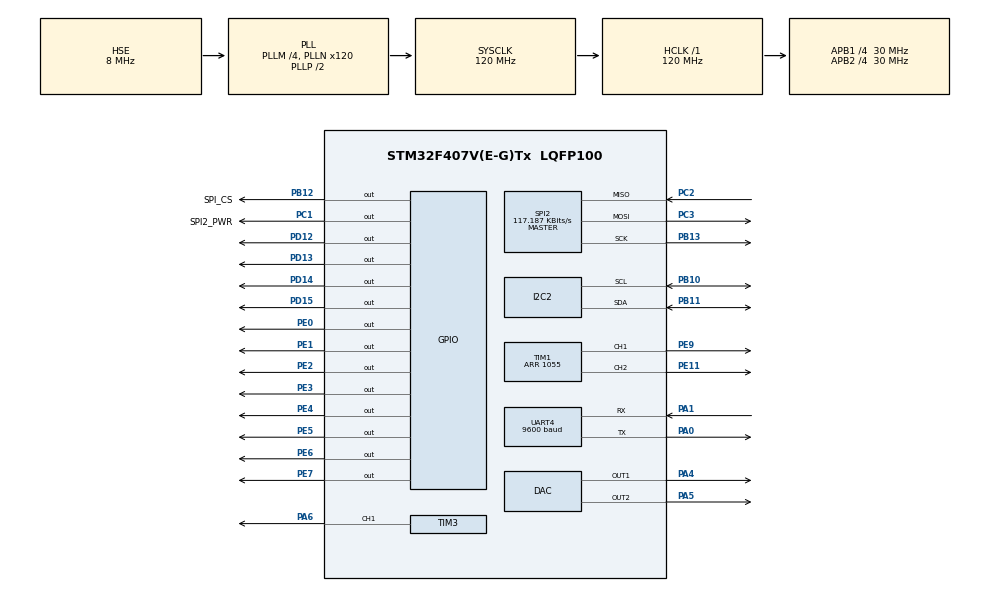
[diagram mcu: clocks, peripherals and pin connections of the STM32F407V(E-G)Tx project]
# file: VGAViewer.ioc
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Mcu.Family=STM32F4
PC3.Mode=Full_Duplex_Master
PH0-OSC_IN.Signal=RCC_OSC_IN
RCC.CortexFreq_Value=120000000
FATFS._USE_LFN=1
TIM1.OCIdleState_2=TIM_OCIDLESTATE_RESET
SPI2.VirtualType=VM_MASTER
PB10.Mode=I2C
NVIC.TIM6_DAC_IRQn=true\:5\:0\:false\:false\:true\:false\:true\:true
Dma.TIM1_TRIG.0.PeriphDataAlignment=DMA_PDATAALIGN_BYTE
FREERTOS.Events01=_vgaEDIDRcvEvnt,Dynamic,NULL
PE1.PinState=GPIO_PIN_RESET
PE2.GPIO_Speed=GPIO_SPEED_FREQ_VERY_HIGH
VP_TIM3_VS_no_output2.Mode=PWM Generation2 No Output
TIM1.Pulse-PWM\ Generation1\ CH1=928
PB11.Signal=I2C2_SDA
Dma.TIM1_TRIG.0.FIFOThreshold=DMA_FIFO_THRESHOLD_3QUARTERSFULL
PB13.Signal=SPI2_SCK
TIM4.TIM_MasterOutputTrigger=TIM_TRGO_UPDATE
RCC.SYSCLKSource=RCC_SYSCLKSOURCE_PLLCLK
ProjectManager.StackSize=0x400
SH.COMP_DAC2_group.0=DAC_OUT2,DAC_OUT2
VP_FREERTOS_VS_CMSIS_V2.Mode=CMSIS_V2
TIM3.OC3Preload_PWM=DISABLE
PD13.Signal=GPIO_Output
TIM1.OC1Preload_PWM=DISABLE
Dma.TIM1_TRIG.0.Mode=DMA_NORMAL
UART4.BaudRate=9600
RCC.HCLKFreq_Value=120000000
RCC.APB2TimFreq_Value=60000000
TIM3.Period=627
TIM3.OC1Preload_PWM=DISABLE
PC3.Signal=SPI2_MOSI
Dma.TIM1_TRIG.0.MemBurst=DMA_MBURST_SINGLE
NVIC.DMA2_Stream0_IRQn=true\:5\:0\:false\:false\:true\:false\:false\:true
PE5.Signal=GPIO_Output
VP_TIM3_VS_ControllerModeClock.Mode=Clock Mode
PE1.Signal=GPIO_Output
RCC.AHBFreq_Value=120000000
SPI2.BaudRatePrescaler=SPI_BAUDRATEPRESCALER_256
PH0-OSC_IN.Mode=HSE-External-Clock-Source
PE3.PinState=GPIO_PIN_RESET
TIM3.Channel-PWM\ Generation1\ CH1=TIM_CHANNEL_1
TIM3.OC2Preload_PWM=DISABLE
FREERTOS.configUSE_PREEMPTION=0
RCC.HSE_VALUE=8000000
PB3.Mode=Trace_Asynchronous_SW
Dma.TIM1_TRIG.0.MemDataAlignment=DMA_MDATAALIGN_WORD
PB12.GPIO_ModeDefaultOutputPP=GPIO_MODE_OUTPUT_OD
PB12.GPIO_Label=SPI_CS
DAC.DAC_Trigger2=DAC_TRIGGER_NONE
Dma.TIM1_TRIG.0.PeriphInc=DMA_PINC_DISABLE
TIM1.Channel-PWM\ Generation3\ No\ Output=TIM_CHANNEL_3
VP_TIM1_VS_ControllerModeClock.Mode=Clock Mode
DAC.DAC_Trigger=DAC_TRIGGER_NONE
TIM1.Channel-PWM\ Generation1\ CH1=TIM_CHANNEL_1
PE9.Signal=S_TIM1_CH1
PA14.Mode=Trace_Asynchronous_SW
PE4.GPIO_Speed=GPIO_SPEED_FREQ_VERY_HIGH
TIM1.OC2Preload_PWM=DISABLE
PE5.PinState=GPIO_PIN_RESET
SPI2.CalculateBaudRate=117.187 KBits/s
FATFS._USE_MKFS=0
PE2.Signal=GPIO_Output
SH.S_TIM3_CH1.0=TIM3_CH1,PWM Generation1 CH1
TIM4.Period=2
VP_TIM3_VS_ClockSourceITR.Mode=TriggerSource_ITR0
PE4.Signal=GPIO_Output
PE6.PinState=GPIO_PIN_RESET
PH1-OSC_OUT.Mode=HSE-External-Clock-Source
Dma.TIM1_TRIG.0.Priority=DMA_PRIORITY_VERY_HIGH
Mcu.Package=LQFP100
PA6.Signal=S_TIM3_CH1
NVIC.TimeBase=TIM7_IRQn
SPI2.Mode=SPI_MODE_MASTER
TIM1.Pulse-PWM\ Generation2\ CH2=88
PD12.Signal=GPIO_Output
NVIC.TimeBaseIP=TIM7
FATFS._FS_MINIMIZE=1
FATFS._FS_LOCK=0
RCC.APB2CLKDivider=RCC_HCLK_DIV4
RCC.APB1TimFreq_Value=60000000
SPI2.Direction=SPI_DIRECTION_2LINES
TIM1.Period=1055
PB13.Mode=Full_Duplex_Master
PE7.Signal=GPIO_Output
Dma.Request0=TIM1_TRIG
PE6.GPIO_Speed=GPIO_SPEED_FREQ_VERY_HIGH
PD15.Signal=GPIO_Output
NVIC.TIM7_IRQn=true\:0\:0\:false\:false\:false\:false\:false\:false
NVIC.UART4_IRQn=true\:14\:0\:true\:false\:true\:false\:true\:true
RCC.PLLSourceVirtual=RCC_PLLSOURCE_HSE
SH.COMP_DAC1_group.0=DAC_OUT1,DAC_OUT1
TIM1.OCPolarity_2=TIM_OCPOLARITY_HIGH
FREERTOS.Tasks01=vgaConnectionTa,24,208,ConnecToVGATask,Default,NULL,Dynamic,NULL,NULL;_mainTask,24,300,MainTask,Default,NULL,Dynamic,NULL,NULL
FATFS._FS_REENTRANT=0
VP_TIM3_VS_no_output3.Mode=PWM Generation3 No Output
PE2.PinState=GPIO_PIN_RESET
TIM3.Pulse-PWM\ Generation2\ No\ Output=23
VP_SYS_VS_tim7.Mode=TIM7
FREERTOS.configCHECK_FOR_STACK_OVERFLOW=2
TIM1.OC3Preload_PWM=DISABLE
PC2.Signal=SPI2_MISO
PE7.PinState=GPIO_PIN_RESET
PC2.Mode=Full_Duplex_Master
TIM1.OC4Preload_PWM=DISABLE
TIM3.Pulse-PWM\ Generation3\ No\ Output=623
RCC.APB1CLKDivider=RCC_HCLK_DIV4
UART4.VirtualMode=Asynchronous
Dma.TIM1_TRIG.0.PeriphBurst=DMA_PBURST_SINGLE
Dma.TIM1_TRIG.0.Instance=DMA2_Stream0
PA0-WKUP.Signal=UART4_TX
TIM1.ClockDivision=TIM_CLOCKDIVISION_DIV1
PE0.GPIO_Speed=GPIO_SPEED_FREQ_VERY_HIGH
PA0-WKUP.Mode=Asynchronous
PA13.Signal=SYS_JTMS-SWDIO
PE0.PinState=GPIO_PIN_RESET
TIM3.Pulse-PWM\ Generation1\ CH1=624
SH.S_TIM1_CH1.0=TIM1_CH1,PWM Generation1 CH1
PB11.Mode=I2C
ProjectManager.TargetToolchain=STM32CubeIDE
TIM1.OCMode_PWM-PWM\ Generation3\ No\ Output=TIM_OCMODE_PWM1
FATFS._CODE_PAGE=850
Dma.TIM1_TRIG.0.MemInc=DMA_MINC_ENABLE
TIM1.Channel-PWM\ Generation2\ CH2=TIM_CHANNEL_2
PB13.GPIO_Speed=GPIO_SPEED_FREQ_LOW
VP_TIM1_VS_ClockSourceITR.Mode=TriggerSource_ITR3
NVIC.I2C2_ER_IRQn=true\:14\:0\:true\:false\:true\:true\:true\:true
PE11.Signal=S_TIM1_CH2
RCC.LSE_VALUE=32768
PA1.Signal=UART4_RX
VP_FATFS_VS_Generic.Mode=User_defined
PB10.Signal=I2C2_SCL
PA5.Signal=COMP_DAC2_group
board=STM32F407G-DISC1
RCC.VCOOutputFreq_Value=240000000
NVIC.TIM3_IRQn=true\:0\:0\:true\:false\:false\:false\:true\:true
VP_TIM1_VS_no_output4.Mode=PWM Generation4 No Output
TIM1.Pulse-PWM\ Generation4\ No\ Output=888
TIM1.TIM_MasterOutputTrigger=TIM_TRGO_OC2REF
PE7.GPIO_Speed=GPIO_SPEED_FREQ_VERY_HIGH
Dma.TIM1_TRIG.0.FIFOMode=DMA_FIFOMODE_ENABLE
RCC.APB2Freq_Value=30000000
PA1.Mode=Asynchronous
SH.S_TIM1_CH2.0=TIM1_CH2,PWM Generation2 CH2
TIM3.Channel-PWM\ Generation2\ No\ Output=TIM_CHANNEL_2
VP_TIM1_VS_no_output3.Mode=PWM Generation3 No Output
PE1.GPIO_Speed=GPIO_SPEED_FREQ_VERY_HIGH
PC1.GPIO_Label=SPI2_PWR
PH1-OSC_OUT.Signal=RCC_OSC_OUT
PE6.Signal=GPIO_Output
PA13.Mode=Trace_Asynchronous_SW
TIM1.Channel-PWM\ Generation4\ No\ Output=TIM_CHANNEL_4
PE0.Signal=GPIO_Output
Mcu.Name=STM32F407V(E-G)Tx
NVIC.TIM1_CC_IRQn=true\:0\:0\:true\:false\:false\:false\:true\:true
PD14.Signal=GPIO_Output
RCC.48MHZClocksFreq_Value=34285714.28571428
TIM3.Channel-PWM\ Generation3\ No\ Output=TIM_CHANNEL_3
PB3.Signal=SYS_JTDO-SWO
PA4.Signal=COMP_DAC1_group
RCC.SYSCLKFreq_VALUE=120000000
PE3.GPIO_Speed=GPIO_SPEED_FREQ_VERY_HIGH
PA14.Signal=SYS_JTCK-SWCLK
ProjectManager.HeapSize=0x200
NVIC.I2C2_EV_IRQn=true\:14\:0\:true\:false\:true\:true\:true\:true
RCC.HSI_VALUE=16000000
Dma.TIM1_TRIG.0.Direction=DMA_MEMORY_TO_PERIPH
VP_TIM4_VS_ClockSourceINT.Mode=Internal
RCC.PLLQ=7
PC1.GPIO_ModeDefaultOutputPP=GPIO_MODE_OUTPUT_PP
NVIC.PriorityGroup=NVIC_PRIORITYGROUP_4
RCC.PLLM=4
RCC.PLLN=120
TIM1.OCMode_PWM-PWM\ Generation2\ CH2=TIM_OCMODE_PWM2
PE5.GPIO_Speed=GPIO_SPEED_FREQ_VERY_HIGH
PE3.Signal=GPIO_Output
TIM1.Pulse-PWM\ Generation3\ No\ Output=88
PE4.PinState=GPIO_PIN_RESET
FATFS._FS_READONLY=1
RCC.APB1Freq_Value=30000000
PC1.Signal=GPIO_Output
PB12.Signal=GPIO_Output

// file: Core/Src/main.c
/* USER CODE BEGIN Header */
/**
 ******************************************************************************
 * @file           : main.c
 * @brief          : Main program body
 ******************************************************************************
 * @attention
 *
 * <h2><center>&copy; Copyright (c) 2021 STMicroelectronics.
 * All rights reserved.</center></h2>
 *
 * This software component is licensed by ST under BSD 3-Clause license,
 * the "License"; You may not use this file except in compliance with the
 * License. You may obtain a copy of the License at:
 *                        opensource.org/licenses/BSD-3-Clause
 *
 ******************************************************************************
 */
 /* USER CODE END Header */
 /* Includes ------------------------------------------------------------------*/
#include "main.h"
#include "cmsis_os.h"
#include "fatfs.h"

/* USER CODE BEGIN Includes */
#include <stdio.h>
#include <stdlib.h>
#include <string.h>

#include <typedefs.h>
#include <assertion.h>

#include <cmsis_extensions.h>
#include <crc/crc7.h>
#include <crc/crc16.h>
#include <vga/edid.h>
#include <vga/vgascreenbuffer.h>
#include <screen/screen.h>
#include <sd/sd.h>
#include <ram.h>

#include <app/ascii_table.h>
#include <app/color_palette.h>
#include <app/explorer.h>

/* USER CODE END Includes */

/* USER CODE BEGIN PTD */

typedef enum _MainApplicationRunning {
    AppIdle, AppAsciiTable, AppPalette, AppExplorer
} MainApplicationRunning;
/* USER CODE END PTD */

/* USER CODE BEGIN PD */

/// Event flag for Edid success read from I2C channel
#define I2CVGA_EDID_RECEIVED 0x00000001
/// Event flag for Edid failure read from I2C channel
#define I2CVGA_EDID_ERROR 0x00000002

/// Interval that need to be elapsed between two EDID checks
#define I2CVGA_CHECK_INTERVAL_MS 7000
#define I2CVGA_CHECK_RETRIES 1
#define I2CVGA_CHECK_TIMEOUT 2000

/// Length of the command that need to be read via interrupt
#define UART_USERCOMMAND_LENGTH 1

/* USER CODE END PD */

DAC_HandleTypeDef hdac;

I2C_HandleTypeDef hi2c2;

SPI_HandleTypeDef hspi2;

TIM_HandleTypeDef htim1;
TIM_HandleTypeDef htim3;
TIM_HandleTypeDef htim4;
DMA_HandleTypeDef hdma_tim1_trig;

UART_HandleTypeDef huart4;

/* Definitions for vgaConnectionTa */
osThreadId_t vgaConnectionTaHandle;
const osThreadAttr_t vgaConnectionTa_attributes = {
  .name = "vgaConnectionTa",
  .stack_size = 208 * 4,
  .priority = (osPriority_t)osPriorityNormal,
};
/* Definitions for _mainTask */
osThreadId_t _mainTaskHandle;
const osThreadAttr_t _mainTask_attributes = {
  .name = "_mainTask",
  .stack_size = 300 * 4,
  .priority = (osPriority_t)osPriorityNormal,
};
/* Definitions for _vgaEDIDRcvEvnt */
osEventFlagsId_t _vgaEDIDRcvEvntHandle;
const osEventFlagsAttr_t _vgaEDIDRcvEvnt_attributes = {
  .name = "_vgaEDIDRcvEvnt"
};
/* USER CODE BEGIN PV */

/// Static 128bytes space for our screen edid
static Edid _vgaEDID = { 0 };
/// Current active FrameBuffer
static ScreenBuffer* _screenBuffer = NULL;
/// VGA informations that will be used to create the framebuffer
static VgaVisualizationInfo _visualizationInfos = { 0 };
/// Command byte received via UART interrupt
static uint8_t _userCommand = 0;
/// Flag that indicates that a command arrived via UART interrupt
static volatile uint8_t _userCommandReceivedFlag = 0;
/// VGA Timer ticks for the connections check interval
static UInt32 _vgaCheckLastTick = 0;
/// Indicates which application is currently running
static MainApplicationRunning _currentRunningApp = AppIdle;
/// Home messages lines that will be displayed
static const char* _homeMessages[] = {
        "VGAViewer 0.22.124.1",
        "a - ASCII Table",
        "e - Explorer",
        "p - Palette"
};

/* USER CODE END PV */

void SystemClock_Config(void);
static void MX_GPIO_Init(void);
static void MX_DMA_Init(void);
static void MX_I2C2_Init(void);
static void MX_UART4_Init(void);
static void MX_TIM3_Init(void);
static void MX_TIM1_Init(void);
static void MX_DAC_Init(void);
static void MX_TIM4_Init(void);
static void MX_SPI2_Init(void);
void ConnecToVGATask(void* argument);
void MainTask(void* argument);

/* USER CODE BEGIN PFP */
/// Prints the occured error on the spcified I2C interface
static void HandleI2CError(I2C_HandleTypeDef* hi2c);
/// Sends the received user command tu the currently active application
static void HandleUserInput();
/// Starts an interrupt UART transaction to read user command
static void IssueUserInputReadWithIT();
/// Checks if VGA is still connected by requesting the EDID
static bool IsVGAStillConnected();
static void DrawMainScreen();
static void DrawMainScreenBorder();
static void DrawMainScreenTitle();
/* USER CODE END PFP */

/* USER CODE BEGIN 0 */

int __io_putchar(int ch) {
    // The __io_putchar migth in a "deep" position in the stack due to libs function calls
    // (at least in Debug mode where inlining is not aggressive)
    // To be absolutely secure, let's check that at least in this level we have enough space in the stack
    // This can be done only when the kernel in running
    osKernelState_t state = osKernelGetState();
    if (state == osKernelRunning) {
        osExEnforeStackProtection(NULL);
    }

    // This call is blocking with infinite timeout so in general we should not have errors
    HAL_StatusTypeDef result = HAL_UART_Transmit(&huart4, (unsigned char*)&ch, 1, HAL_MAX_DELAY);
    if (result != HAL_OK) {
        // Let's just signal with a LED that something has gone wrong
        //Error_Handler();
    }

    // No documentation on the return value (it is also not used by the default _write function in syscalls.c
    return 0;
}

void HandleI2CError(I2C_HandleTypeDef* hi2c) {
    // NB: HAL driver (in theory) handles correctly the abort of the current transfer when an error occurs
    // We have to do nothing

    printf("\033[1;33m");
    UInt32 errorCode = hi2c->ErrorCode;
    if (errorCode == HAL_I2C_ERROR_BERR) {
        printf("I2C bus error occurred.");
    }
    else if (errorCode == HAL_I2C_ERROR_AF) {
        printf("I2C nonacknowledge bit detected.");
        // Nothing to do. We will restart the transmission
    }
    else if (errorCode == HAL_I2C_ERROR_ARLO) {
        printf("I2C arbitration lost.");
        // Nothing to do. We will restart the transmission
        // STM32F407 Reference manual tells nothing on what to do when this error occurs
        // Let's just retry
    }
    else if (errorCode == HAL_I2C_ERROR_OVR) {
        printf("I2C overrun/underrun error detected");
        // We are not a slave device, no overrun/underrun errors should be detected
        Error_Handler();
    }
    else {
        printf("I2C error not handled: %" PRIu32, errorCode);
        Error_Handler();
    }

    printf("\033[0m\r\n");
}

void TIM7_IRQHandler(void) {
    /* Custom main system timer implementation */
    // With this implementation we can lower the time incidence of the HAL abstraction
    // layer for a function that is incrementing a single value
    // This MUST be done to reduce the BusMatrix delay
    UInt32 timStatus = TIM7->SR;
    CLEAR_BIT(TIM7->SR, TIM_FLAG_UPDATE);

#if _DEBUG
    // Let's just check in debug to be sure we are doing everything right
    if ((timStatus & ~TIM_FLAG_UPDATE) != 0) {
        // Main tick timer has raised an interrupt that was not intended to be handled
        Error_Handler();
    }
#endif

    HAL_IncTick();
}

void HAL_I2C_MasterRxCpltCallback(I2C_HandleTypeDef* hi2c) {
    // The vgaConnectionTaHandle is the only task that should enable this interrupt
    // If the task stack overflows, there is the risk that some OS structures (_vgaEDIDRcvEvntHandle)
    // can be corrupted so better add a check to lower the possibility that this event occurs
    // NB: StackOverflow can happen during another IRQ_Handler. Here we are just "asserting" that everything ok
    // otherwhise osEventFlagsSet may fail
    osExEnforeStackProtection(vgaConnectionTaHandle);

    // Not too much to do here. I2C transfer is now completed and we can set our event
    UInt32 result = osEventFlagsSet(_vgaEDIDRcvEvntHandle, I2CVGA_EDID_RECEIVED);
    if (osExResultIsFlagsErrorCode(result)) {
        // Something wrong happened, better stop everything
        Error_Handler();
    }

    // No others flags should be set
    DebugAssert(result == I2CVGA_EDID_RECEIVED);
}

void HAL_I2C_ErrorCallback(I2C_HandleTypeDef* hi2c) {
    // The vgaConnectionTaHandle is the only task that should enable this interrupt
    // If the task stack overflows, there is the risk that some OS structures (_vgaEDIDRcvEvntHandle)
    // can be corruptes so better add a check to lower the possibility that this event occurs
    // NB: StackOverflow can happen during another IRQ_Handler. Here we are just "asserting" that everything ok
    // otherwhise osEventFlagsSet may fail
    osExEnforeStackProtection(vgaConnectionTaHandle);

    // Not too much to do here. I2C transfer resulted in an error
    // We simply signal the event. The VGA connection task will handle the error
    // that should have been writtien in hi2c->ErrorCode
    UInt32 result = osEventFlagsSet(_vgaEDIDRcvEvntHandle, I2CVGA_EDID_ERROR);
    if (osExResultIsFlagsErrorCode(result)) {
        // Something wrong happened, better stop everything
        Error_Handler();
    }

    // No others flags should be set
    DebugAssert(result == I2CVGA_EDID_ERROR);
}

void HAL_I2C_AbortCpltCallback(I2C_HandleTypeDef* hi2c) {
    // Never occurred, so for the moment let's keep a printf
    printf("I2C Transfer aborted\r\n");
}

void HAL_UART_RxCpltCallback(UART_HandleTypeDef* huart) {
    if (huart == &huart4) {
        // Simply store the received command and set the flag
        // This will result ina little delay for the BusMatrix, but still better result than
        // polling the peripheral
        _userCommand = (BYTE)huart->Instance->DR;
        _userCommandReceivedFlag = 1;
    }
}

void DrawMainScreen() {
    DrawMainScreenBorder();
    DrawMainScreenTitle();
}

void DrawMainScreenBorder() {
    // We draw a red line on the screen borders to see how precise we are
    // in our timing
    PointS point = { 0 };
    Pen pen = { 0 };

    pen.color.argb = SCREEN_RGB(0, 0, 0);
    ScreenClear(_screenBuffer, &pen);

    // Top line drawing
    pen.color.argb = SCREEN_RGB(0xFF, 0, 0);
    for (int i = 0; i < _screenBuffer->screenSize.width; i++)
    {
        point.x = (Int16)i;
        _screenBuffer->DrawCallback(point, &pen);
    }

    // Bottom line drawing
    point.y = (Int16)(_screenBuffer->screenSize.height - 1);
    for (int i = 0; i < _screenBuffer->screenSize.width; i++)
    {
        point.x = (Int16)i;
        _screenBuffer->DrawCallback(point, &pen);
    }

    // Lateral lines drawing
    for (int i = 0; i < _screenBuffer->screenSize.height; i++)
    {
        point.y = (Int16)(i);
        point.x = 0;
        _screenBuffer->DrawCallback(point, &pen);

        point.x = (Int16)(_screenBuffer->screenSize.width - 1);
        _screenBuffer->DrawCallback(point, &pen);
    }
}

void DrawMainScreenTitle() {
    int titleHeight = 0;
    const int padding = 1;
    const int messages = 4;

    // Let's measure the enclosing rectangle for all the lines
    for (int i = 0; i < messages; i++)
    {
        SizeS strSize = { 0 };
        ScreenMeasureString(_homeMessages[i], &strSize);

        titleHeight += strSize.height + padding;
    }
    titleHeight -= padding;

    // Let' s calculate the starting Y pos (centered on the screen)
    int startingY = (_screenBuffer->screenSize.height / 2) - (titleHeight / 2);

    Pen pen = { 0 };
    pen.color.argb = SCREEN_RGB(0, 0xe6, 0x76);

    // We then draw each line
    PointS drawingPoint = { 0 };
    drawingPoint.y = (Int16)startingY;
    for (int i = 0; i < messages; i++)
    {
        SizeS strSize = { 0 };

        // We measure the string to horizontally center it
        ScreenMeasureString(_homeMessages[i], &strSize);
        int startingX = (_screenBuffer->screenSize.width / 2) - (strSize.width / 2);
        drawingPoint.x = (Int16)startingX;

        ScreenDrawString(_screenBuffer, _homeMessages[i], drawingPoint, &pen);
        drawingPoint.y = (Int16)(drawingPoint.y + padding + strSize.height);
    }
}

/* USER CODE END 0 */

int main(void)
{
    /* USER CODE BEGIN 1 */

    // We need to disable the io buffering to have the data directly sent
    setvbuf(stdout, NULL, _IONBF, 0);
    Crc7Initialize();
    Crc16Initialize();

    // We set to stop our main screen timer during debug
    // In this way we avoid strange conditions and we can correclty debug DMA e timer counters
    SET_BIT(DBGMCU->APB1FZ, DBGMCU_APB1_FZ_DBG_TIM4_STOP);
    // We force the processor to raise an exception when unaligned word access occur
    // We use this combined with a compiler option to force the generation of only word acceses
    // (if aligned) to try increse the performances (unaligned word loads are slower that normal bytes load)
    SET_BIT(SCB->CCR, SCB_CCR_UNALIGN_TRP_Msk);

    /* USER CODE END 1 */

    /* MCU Configuration--------------------------------------------------------*/

    /* Reset of all peripherals, Initializes the Flash interface and the Systick. */
    HAL_Init();

    /* Configure the system clock */
    SystemClock_Config();

    /* Initialize all configured peripherals */
    MX_GPIO_Init();
    MX_DMA_Init();
    MX_I2C2_Init();
    MX_UART4_Init();
    MX_TIM3_Init();
    MX_TIM1_Init();
    MX_DAC_Init();
    MX_TIM4_Init();
    MX_FATFS_Init();
    MX_SPI2_Init();
    /* USER CODE BEGIN 2 */

    HAL_GPIO_WritePin(GPIOD, GPIO_PIN_13, GPIO_PIN_SET);

    printf("\033[0;0H\033[2J\033[0mStarting VGAViewer 0.22.124.1");
#ifdef _DEBUG
    printf(" - Debug Version");
#endif
    printf("\r\n");

    SdStatus status;
    if ((status = SdInitialize(GPIOC, GPIO_PIN_1, &hspi2)) != SdStatusOk) {
        // SD initialization should never return an error.
        Error_Handler();
    }

    /* USER CODE END 2 */

    /* Init scheduler */
    osKernelInitialize();

    /* Create the thread(s) */
    /* creation of vgaConnectionTa */
    vgaConnectionTaHandle = osThreadNew(ConnecToVGATask, NULL, &vgaConnectionTa_attributes);

    /* creation of _mainTask */
    _mainTaskHandle = osThreadNew(MainTask, NULL, &_mainTask_attributes);

    /* USER CODE BEGIN RTOS_THREADS */
    CHECK_OS_STATUS(osThreadSuspend(_mainTaskHandle));
    /* add threads, ... */
  /* USER CODE END RTOS_THREADS */

  /* Create the event(s) */
  /* creation of _vgaEDIDRcvEvnt */
    _vgaEDIDRcvEvntHandle = osEventFlagsNew(&_vgaEDIDRcvEvnt_attributes);

    /* Start scheduler */
    osKernelStart();

    /* We should never get here as control is now taken by the scheduler */
    /* Infinite loop */
    while (1) {

    }
}

void SystemClock_Config(void)
{
    RCC_OscInitTypeDef RCC_OscInitStruct = { 0 };
    RCC_ClkInitTypeDef RCC_ClkInitStruct = { 0 };

    /** Configure the main internal regulator output voltage
    */
    __HAL_RCC_PWR_CLK_ENABLE();
    __HAL_PWR_VOLTAGESCALING_CONFIG(PWR_REGULATOR_VOLTAGE_SCALE1);
    /** Initializes the RCC Oscillators according to the specified parameters
    * in the RCC_OscInitTypeDef structure.
    */
    RCC_OscInitStruct.OscillatorType = RCC_OSCILLATORTYPE_HSE;
    RCC_OscInitStruct.HSEState = RCC_HSE_BYPASS;
    RCC_OscInitStruct.PLL.PLLState = RCC_PLL_ON;
    RCC_OscInitStruct.PLL.PLLSource = RCC_PLLSOURCE_HSE;
    RCC_OscInitStruct.PLL.PLLM = 4;
    RCC_OscInitStruct.PLL.PLLN = 120;
    RCC_OscInitStruct.PLL.PLLP = RCC_PLLP_DIV2;
    RCC_OscInitStruct.PLL.PLLQ = 7;
    if (HAL_RCC_OscConfig(&RCC_OscInitStruct) != HAL_OK)
    {
        Error_Handler();
    }
    /** Initializes the CPU, AHB and APB buses clocks
    */
    RCC_ClkInitStruct.ClockType = RCC_CLOCKTYPE_HCLK | RCC_CLOCKTYPE_SYSCLK
        | RCC_CLOCKTYPE_PCLK1 | RCC_CLOCKTYPE_PCLK2;
    RCC_ClkInitStruct.SYSCLKSource = RCC_SYSCLKSOURCE_PLLCLK;
    RCC_ClkInitStruct.AHBCLKDivider = RCC_SYSCLK_DIV1;
    RCC_ClkInitStruct.APB1CLKDivider = RCC_HCLK_DIV4;
    RCC_ClkInitStruct.APB2CLKDivider = RCC_HCLK_DIV4;

    if (HAL_RCC_ClockConfig(&RCC_ClkInitStruct, FLASH_LATENCY_3) != HAL_OK)
    {
        Error_Handler();
    }
}

static void MX_DAC_Init(void)
{

    DAC_ChannelConfTypeDef sConfig = { 0 };

    /** DAC Initialization
    */
    hdac.Instance = DAC;
    if (HAL_DAC_Init(&hdac) != HAL_OK)
    {
        Error_Handler();
    }
    /** DAC channel OUT1 config
    */
    sConfig.DAC_Trigger = DAC_TRIGGER_NONE;
    sConfig.DAC_OutputBuffer = DAC_OUTPUTBUFFER_ENABLE;
    if (HAL_DAC_ConfigChannel(&hdac, &sConfig, DAC_CHANNEL_1) != HAL_OK)
    {
        Error_Handler();
    }
    /** DAC channel OUT2 config
    */
    if (HAL_DAC_ConfigChannel(&hdac, &sConfig, DAC_CHANNEL_2) != HAL_OK)
    {
        Error_Handler();
    }

}

static void MX_I2C2_Init(void)
{

    hi2c2.Instance = I2C2;
    hi2c2.Init.ClockSpeed = 100000;
    hi2c2.Init.DutyCycle = I2C_DUTYCYCLE_2;
    hi2c2.Init.OwnAddress1 = 0;
    hi2c2.Init.AddressingMode = I2C_ADDRESSINGMODE_7BIT;
    hi2c2.Init.DualAddressMode = I2C_DUALADDRESS_DISABLE;
    hi2c2.Init.OwnAddress2 = 0;
    hi2c2.Init.GeneralCallMode = I2C_GENERALCALL_DISABLE;
    hi2c2.Init.NoStretchMode = I2C_NOSTRETCH_DISABLE;
    if (HAL_I2C_Init(&hi2c2) != HAL_OK)
    {
        Error_Handler();
    }

}

static void MX_SPI2_Init(void)
{

    /* SPI2 parameter configuration*/
    hspi2.Instance = SPI2;
    hspi2.Init.Mode = SPI_MODE_MASTER;
    hspi2.Init.Direction = SPI_DIRECTION_2LINES;
    hspi2.Init.DataSize = SPI_DATASIZE_8BIT;
    hspi2.Init.CLKPolarity = SPI_POLARITY_LOW;
    hspi2.Init.CLKPhase = SPI_PHASE_1EDGE;
    hspi2.Init.NSS = SPI_NSS_SOFT;
    hspi2.Init.BaudRatePrescaler = SPI_BAUDRATEPRESCALER_256;
    hspi2.Init.FirstBit = SPI_FIRSTBIT_MSB;
    hspi2.Init.TIMode = SPI_TIMODE_DISABLE;
    hspi2.Init.CRCCalculation = SPI_CRCCALCULATION_DISABLE;
    hspi2.Init.CRCPolynomial = 10;
    if (HAL_SPI_Init(&hspi2) != HAL_OK)
    {
        Error_Handler();
    }

}

static void MX_TIM1_Init(void)
{

    TIM_SlaveConfigTypeDef sSlaveConfig = { 0 };
    TIM_MasterConfigTypeDef sMasterConfig = { 0 };
    TIM_OC_InitTypeDef sConfigOC = { 0 };
    TIM_BreakDeadTimeConfigTypeDef sBreakDeadTimeConfig = { 0 };

    htim1.Instance = TIM1;
    htim1.Init.Prescaler = 0;
    htim1.Init.CounterMode = TIM_COUNTERMODE_UP;
    htim1.Init.Period = 1055;
    htim1.Init.ClockDivision = TIM_CLOCKDIVISION_DIV1;
    htim1.Init.RepetitionCounter = 0;
    htim1.Init.AutoReloadPreload = TIM_AUTORELOAD_PRELOAD_DISABLE;
    if (HAL_TIM_Base_Init(&htim1) != HAL_OK)
    {
        Error_Handler();
    }
    if (HAL_TIM_PWM_Init(&htim1) != HAL_OK)
    {
        Error_Handler();
    }
    sSlaveConfig.SlaveMode = TIM_SLAVEMODE_EXTERNAL1;
    sSlaveConfig.InputTrigger = TIM_TS_ITR3;
    if (HAL_TIM_SlaveConfigSynchro(&htim1, &sSlaveConfig) != HAL_OK)
    {
        Error_Handler();
    }
    sMasterConfig.MasterOutputTrigger = TIM_TRGO_OC2REF;
    sMasterConfig.MasterSlaveMode = TIM_MASTERSLAVEMODE_DISABLE;
    if (HAL_TIMEx_MasterConfigSynchronization(&htim1, &sMasterConfig) != HAL_OK)
    {
        Error_Handler();
    }
    sConfigOC.OCMode = TIM_OCMODE_PWM1;
    sConfigOC.Pulse = 928;
    sConfigOC.OCPolarity = TIM_OCPOLARITY_HIGH;
    sConfigOC.OCNPolarity = TIM_OCNPOLARITY_HIGH;
    sConfigOC.OCFastMode = TIM_OCFAST_DISABLE;
    sConfigOC.OCIdleState = TIM_OCIDLESTATE_RESET;
    sConfigOC.OCNIdleState = TIM_OCNIDLESTATE_RESET;
    if (HAL_TIM_PWM_ConfigChannel(&htim1, &sConfigOC, TIM_CHANNEL_1) != HAL_OK)
    {
        Error_Handler();
    }
    __HAL_TIM_DISABLE_OCxPRELOAD(&htim1, TIM_CHANNEL_1);
    sConfigOC.OCMode = TIM_OCMODE_PWM2;
    sConfigOC.Pulse = 88;
    if (HAL_TIM_PWM_ConfigChannel(&htim1, &sConfigOC, TIM_CHANNEL_2) != HAL_OK)
    {
        Error_Handler();
    }
    __HAL_TIM_DISABLE_OCxPRELOAD(&htim1, TIM_CHANNEL_2);
    sConfigOC.OCMode = TIM_OCMODE_PWM1;
    if (HAL_TIM_PWM_ConfigChannel(&htim1, &sConfigOC, TIM_CHANNEL_3) != HAL_OK)
    {
        Error_Handler();
    }
    __HAL_TIM_DISABLE_OCxPRELOAD(&htim1, TIM_CHANNEL_3);
    sConfigOC.Pulse = 888;
    if (HAL_TIM_PWM_ConfigChannel(&htim1, &sConfigOC, TIM_CHANNEL_4) != HAL_OK)
    {
        Error_Handler();
    }
    __HAL_TIM_DISABLE_OCxPRELOAD(&htim1, TIM_CHANNEL_4);
    sBreakDeadTimeConfig.OffStateRunMode = TIM_OSSR_DISABLE;
    sBreakDeadTimeConfig.OffStateIDLEMode = TIM_OSSI_DISABLE;
    sBreakDeadTimeConfig.LockLevel = TIM_LOCKLEVEL_OFF;
    sBreakDeadTimeConfig.DeadTime = 0;
    sBreakDeadTimeConfig.BreakState = TIM_BREAK_DISABLE;
    sBreakDeadTimeConfig.BreakPolarity = TIM_BREAKPOLARITY_HIGH;
    sBreakDeadTimeConfig.AutomaticOutput = TIM_AUTOMATICOUTPUT_DISABLE;
    if (HAL_TIMEx_ConfigBreakDeadTime(&htim1, &sBreakDeadTimeConfig) != HAL_OK)
    {
        Error_Handler();
    }
    HAL_TIM_MspPostInit(&htim1);

}

static void MX_TIM3_Init(void)
{

    TIM_SlaveConfigTypeDef sSlaveConfig = { 0 };
    TIM_MasterConfigTypeDef sMasterConfig = { 0 };
    TIM_OC_InitTypeDef sConfigOC = { 0 };

    htim3.Instance = TIM3;
    htim3.Init.Prescaler = 0;
    htim3.Init.CounterMode = TIM_COUNTERMODE_UP;
    htim3.Init.Period = 627;
    htim3.Init.ClockDivision = TIM_CLOCKDIVISION_DIV1;
    htim3.Init.AutoReloadPreload = TIM_AUTORELOAD_PRELOAD_DISABLE;
    if (HAL_TIM_Base_Init(&htim3) != HAL_OK)
    {
        Error_Handler();
    }
    if (HAL_TIM_PWM_Init(&htim3) != HAL_OK)
    {
        Error_Handler();
    }
    sSlaveConfig.SlaveMode = TIM_SLAVEMODE_EXTERNAL1;
    sSlaveConfig.InputTrigger = TIM_TS_ITR0;
    if (HAL_TIM_SlaveConfigSynchro(&htim3, &sSlaveConfig) != HAL_OK)
    {
        Error_Handler();
    }
    sMasterConfig.MasterOutputTrigger = TIM_TRGO_RESET;
    sMasterConfig.MasterSlaveMode = TIM_MASTERSLAVEMODE_DISABLE;
    if (HAL_TIMEx_MasterConfigSynchronization(&htim3, &sMasterConfig) != HAL_OK)
    {
        Error_Handler();
    }
    sConfigOC.OCMode = TIM_OCMODE_PWM1;
    sConfigOC.Pulse = 624;
    sConfigOC.OCPolarity = TIM_OCPOLARITY_HIGH;
    sConfigOC.OCFastMode = TIM_OCFAST_DISABLE;
    if (HAL_TIM_PWM_ConfigChannel(&htim3, &sConfigOC, TIM_CHANNEL_1) != HAL_OK)
    {
        Error_Handler();
    }
    __HAL_TIM_DISABLE_OCxPRELOAD(&htim3, TIM_CHANNEL_1);
    sConfigOC.Pulse = 23;
    if (HAL_TIM_PWM_ConfigChannel(&htim3, &sConfigOC, TIM_CHANNEL_2) != HAL_OK)
    {
        Error_Handler();
    }
    __HAL_TIM_DISABLE_OCxPRELOAD(&htim3, TIM_CHANNEL_2);
    sConfigOC.Pulse = 623;
    if (HAL_TIM_PWM_ConfigChannel(&htim3, &sConfigOC, TIM_CHANNEL_3) != HAL_OK)
    {
        Error_Handler();
    }
    __HAL_TIM_DISABLE_OCxPRELOAD(&htim3, TIM_CHANNEL_3);
    HAL_TIM_MspPostInit(&htim3);

}

static void MX_TIM4_Init(void)
{

    TIM_ClockConfigTypeDef sClockSourceConfig = { 0 };
    TIM_MasterConfigTypeDef sMasterConfig = { 0 };

    htim4.Instance = TIM4;
    htim4.Init.Prescaler = 0;
    htim4.Init.CounterMode = TIM_COUNTERMODE_UP;
    htim4.Init.Period = 2;
    htim4.Init.ClockDivision = TIM_CLOCKDIVISION_DIV1;
    htim4.Init.AutoReloadPreload = TIM_AUTORELOAD_PRELOAD_DISABLE;
    if (HAL_TIM_Base_Init(&htim4) != HAL_OK)
    {
        Error_Handler();
    }
    sClockSourceConfig.ClockSource = TIM_CLOCKSOURCE_INTERNAL;
    if (HAL_TIM_ConfigClockSource(&htim4, &sClockSourceConfig) != HAL_OK)
    {
        Error_Handler();
    }
    sMasterConfig.MasterOutputTrigger = TIM_TRGO_UPDATE;
    sMasterConfig.MasterSlaveMode = TIM_MASTERSLAVEMODE_DISABLE;
    if (HAL_TIMEx_MasterConfigSynchronization(&htim4, &sMasterConfig) != HAL_OK)
    {
        Error_Handler();
    }

}

static void MX_UART4_Init(void)
{

    huart4.Instance = UART4;
    huart4.Init.BaudRate = 9600;
    huart4.Init.WordLength = UART_WORDLENGTH_8B;
    huart4.Init.StopBits = UART_STOPBITS_1;
    huart4.Init.Parity = UART_PARITY_NONE;
    huart4.Init.Mode = UART_MODE_TX_RX;
    huart4.Init.HwFlowCtl = UART_HWCONTROL_NONE;
    huart4.Init.OverSampling = UART_OVERSAMPLING_16;
    if (HAL_UART_Init(&huart4) != HAL_OK)
    {
        Error_Handler();
    }

}

static void MX_DMA_Init(void)
{

    /* DMA controller clock enable */
    __HAL_RCC_DMA2_CLK_ENABLE();

    /* DMA interrupt init */
    /* DMA2_Stream0_IRQn interrupt configuration */
    HAL_NVIC_SetPriority(DMA2_Stream0_IRQn, 5, 0);
    HAL_NVIC_EnableIRQ(DMA2_Stream0_IRQn);

}

static void MX_GPIO_Init(void)
{
    GPIO_InitTypeDef GPIO_InitStruct = { 0 };

    /* GPIO Ports Clock Enable */
    __HAL_RCC_GPIOE_CLK_ENABLE();
    __HAL_RCC_GPIOH_CLK_ENABLE();
    __HAL_RCC_GPIOC_CLK_ENABLE();
    __HAL_RCC_GPIOA_CLK_ENABLE();
    __HAL_RCC_GPIOB_CLK_ENABLE();
    __HAL_RCC_GPIOD_CLK_ENABLE();

    /*Configure GPIO pin Output Level */
    HAL_GPIO_WritePin(GPIOE, GPIO_PIN_2 | GPIO_PIN_3 | GPIO_PIN_4 | GPIO_PIN_5
        | GPIO_PIN_6 | GPIO_PIN_7 | GPIO_PIN_0 | GPIO_PIN_1, GPIO_PIN_RESET);

    /*Configure GPIO pin Output Level */
    HAL_GPIO_WritePin(SPI2_PWR_GPIO_Port, SPI2_PWR_Pin, GPIO_PIN_RESET);

    /*Configure GPIO pin Output Level */
    HAL_GPIO_WritePin(SPI_CS_GPIO_Port, SPI_CS_Pin, GPIO_PIN_RESET);

    /*Configure GPIO pin Output Level */
    HAL_GPIO_WritePin(GPIOD, GPIO_PIN_12 | GPIO_PIN_13 | GPIO_PIN_14 | GPIO_PIN_15, GPIO_PIN_RESET);

    /*Configure GPIO pins : PE2 PE3 PE4 PE5
                             PE6 PE7 PE0 PE1 */
    GPIO_InitStruct.Pin = GPIO_PIN_2 | GPIO_PIN_3 | GPIO_PIN_4 | GPIO_PIN_5
        | GPIO_PIN_6 | GPIO_PIN_7 | GPIO_PIN_0 | GPIO_PIN_1;
    GPIO_InitStruct.Mode = GPIO_MODE_OUTPUT_PP;
    GPIO_InitStruct.Pull = GPIO_NOPULL;
    GPIO_InitStruct.Speed = GPIO_SPEED_FREQ_VERY_HIGH;
    HAL_GPIO_Init(GPIOE, &GPIO_InitStruct);

    /*Configure GPIO pin : SPI2_PWR_Pin */
    GPIO_InitStruct.Pin = SPI2_PWR_Pin;
    GPIO_InitStruct.Mode = GPIO_MODE_OUTPUT_PP;
    GPIO_InitStruct.Pull = GPIO_NOPULL;
    GPIO_InitStruct.Speed = GPIO_SPEED_FREQ_LOW;
    HAL_GPIO_Init(SPI2_PWR_GPIO_Port, &GPIO_InitStruct);

    /*Configure GPIO pin : SPI_CS_Pin */
    GPIO_InitStruct.Pin = SPI_CS_Pin;
    GPIO_InitStruct.Mode = GPIO_MODE_OUTPUT_OD;
    GPIO_InitStruct.Pull = GPIO_NOPULL;
    GPIO_InitStruct.Speed = GPIO_SPEED_FREQ_LOW;
    HAL_GPIO_Init(SPI_CS_GPIO_Port, &GPIO_InitStruct);

    /*Configure GPIO pins : PD12 PD13 PD14 PD15 */
    GPIO_InitStruct.Pin = GPIO_PIN_12 | GPIO_PIN_13 | GPIO_PIN_14 | GPIO_PIN_15;
    GPIO_InitStruct.Mode = GPIO_MODE_OUTPUT_PP;
    GPIO_InitStruct.Pull = GPIO_NOPULL;
    GPIO_InitStruct.Speed = GPIO_SPEED_FREQ_LOW;
    HAL_GPIO_Init(GPIOD, &GPIO_InitStruct);

}

/* USER CODE BEGIN 4 */

void HandleUserInput() {
    if (!_userCommandReceivedFlag) {
        // No data received from the user, we can exit for the moment
        return;
    }

    // There is some data ready to be consumed. We copy it locally and issue a new byte rcv request via interrupt
    // in this way we "lock" for the minimimum amount of time the bus matrix (request initialization + rcv & interrupt)
    char receivedCommand = _userCommand;
    _userCommandReceivedFlag = 0;

    IssueUserInputReadWithIT();
    if (receivedCommand == '\033') {
        // Escape command, we close the application
        if (_currentRunningApp == AppAsciiTable) {
            AsciiTableClose();
        }
        else if (_currentRunningApp == AppPalette) {
            AppPaletteClose();
        }
        else if (_currentRunningApp == AppExplorer) {
            ExplorerClose();
        }
        _currentRunningApp = AppIdle;
        DrawMainScreen();
    }
    else if (_currentRunningApp != AppIdle) {
        // We send the command to the running app
        switch (_currentRunningApp) {
        case AppAsciiTable:
            AsciiTableProcessInput(receivedCommand);
            break;
        case AppPalette:
            AppPaletteProcessInput(receivedCommand);
            break;
        case AppExplorer:
            ExplorerProcessInput(receivedCommand);
            break;
        default:
            break;
        }
    }
    else {
        // We open the specific application
        switch (receivedCommand) {
        case 'a':
            _currentRunningApp = AppAsciiTable;
            AsciiTableInitialize(_screenBuffer);
            break;
            break;
        case 'p':
            _currentRunningApp = AppPalette;
            AppPaletteInitialize(_screenBuffer);
            break;
        case 'e':
            _currentRunningApp = AppExplorer;
            ExplorerOpen(_screenBuffer);
            break;
        }
    }

}

void IssueUserInputReadWithIT() {
    HAL_StatusTypeDef status = HAL_UART_Receive_IT(&huart4, &_userCommand, UART_USERCOMMAND_LENGTH);
    if (status != HAL_OK) {
        // Uart should be always available and enabled
        // if the Receive cannot be executed there is something wrong
        Error_Handler();
    }
}

bool IsVGAStillConnected() {
    // We have to check if the VGA cable is still connected. This requires some interactions with the bus matrix so we need to
    // minimize the overhead to limit the artifacts in the video output
    // To do this, we simply perform the check once in a while using the HAL_Ticks (the function just reads a value that has already been
    // updated from a mandatory interrupt, so no "extra" matrix arbitration is needed)
    UInt32 currentHalTick = HAL_GetTick();
    if ((currentHalTick - _vgaCheckLastTick) < I2CVGA_CHECK_INTERVAL_MS) {
        // VGA Check interval is not due yet. We assume VGA is still connected
        return true;
    }
    // Let's update the tick value
    _vgaCheckLastTick = currentHalTick;

    // Time to check if the VGA is still connected. There is no "standard" input signal on the VGA so we backoff to our VGA I2C connection
    // If the Edid slave address is not available, the cable is probably disconnected (or the monitor is completely switched off)

    HAL_StatusTypeDef deviceAliveResult = HAL_I2C_IsDeviceReady(&hi2c2, EDID_DDC2_I2C_DEVICE_ADDRESS << 1, I2CVGA_CHECK_RETRIES, I2CVGA_CHECK_TIMEOUT);
    return deviceAliveResult == HAL_OK;
}
/* USER CODE END 4 */

void ConnecToVGATask(void* argument)
{
    /* USER CODE BEGIN 5 */
    bool waitbeforeNextConnection = false;
    /* Infinite loop */

    while (true) {
        /* From RM0090 STM32F407 Reference Manual; Section 27.6.7 I2C Status register 2 (I2C_SR2):
         BUSY: Bus busy 0: No communication on the bus 1: Communication ongoing on the bus
         - Set by hardware on detection of SDA or SCL low
         - cleared by hardware on detection of a Stop condition.
         It indicates a communication in progress on the bus. This information is still updated when the interface is disabled (PE=0).
         */
         // HAL_BUSY bug resolution: If the bus is busy when the I2C peripheral is initialized, the flag is not cleared until the peripheral is disabled
         // The HAL seems to not address this problem, so we simply disable the interface at the beginning of our interaction and we re enable it
         // just before trying to receive as a master
        __HAL_I2C_DISABLE(&hi2c2);
        if (waitbeforeNextConnection) {
            waitbeforeNextConnection = false;
            CHECK_OS_STATUS(osExDelayMs(10 * 1000)); // 10 sec delay
        }

        // We have to clear the Error code since in the I2C_Master_Receive the field is cleared AFTER the BUSY_FLAG wait loop,
        // otherwhise we will OR a possible previous error with the HAL_I2C_ERROR_TIMEOUT if the bus is still busy
        hi2c2.ErrorCode = HAL_I2C_ERROR_NONE;
        // Assert: I2C handle should be ready with no error set
        DebugAssert(hi2c2.ErrorCode == 0 && hi2c2.State == HAL_I2C_STATE_READY);

        // First step: enable the per and launch the Rcv command with the interrupts enabled
        __HAL_I2C_ENABLE(&hi2c2);
        HAL_StatusTypeDef halStatus = HAL_I2C_Master_Receive_IT(&hi2c2, EDID_DDC2_I2C_DEVICE_ADDRESS << 1, (uint8_t*)&_vgaEDID, sizeof(Edid));
        if (halStatus == HAL_ERROR && (hi2c2.ErrorCode & HAL_I2C_ERROR_TIMEOUT) != 0) {
            // If the HAL_ERROR is flagged with the timeout, the bus is busy. We can't do anything.
            printf("Unable to initialize VGA I2C transmission. Nothing connected (bus busy)\r\n");
            // We simply repeat with some waiting
            waitbeforeNextConnection = true;
            continue;

        }
        else if (halStatus != HAL_OK) {
            // Something went wrong that was not addressed in the code
            Error_Handler();
        }

        // We need to wait an answer from I2C communication
        UInt32 result = osEventFlagsWait(_vgaEDIDRcvEvntHandle, I2CVGA_EDID_ERROR | I2CVGA_EDID_RECEIVED, osFlagsWaitAny, osWaitForever);
        if (osExResultIsFlagsErrorCode(result)) {
            Error_Handler();
        }
        else if ((result & I2CVGA_EDID_ERROR) == (result & I2CVGA_EDID_RECEIVED)) {
            // We can't have both error + rcv or none of the two
            Error_Handler();
        }

        if (result & I2CVGA_EDID_ERROR) {
            HandleI2CError(&hi2c2);
            waitbeforeNextConnection = true;
            continue;
        }

        if (!EdidIsChecksumValid(&_vgaEDID)) {
            printf("\033[1;33mVGA Edid checksum is not valid. Cannot connect\033[0m\r\n");
            waitbeforeNextConnection = true;
            continue;
        }

        printf("\033[1;92mVGA connected\033[0m\r\n");
        EdidDumpStructure(&_vgaEDID);

        _visualizationInfos.FrameSignals = VideoFrame800x600at60Hz;
        _visualizationInfos.BitsPerPixel = Bpp8;
        _visualizationInfos.Scaling = 2;

        _visualizationInfos.mainTimer = &htim4;
        _visualizationInfos.hSyncTimer = &htim1;
        _visualizationInfos.vSyncTimer = &htim3;
        _visualizationInfos.lineDMA = &hdma_tim1_trig;

        // We create the screen buffer
        VgaError vgaResult = VgaCreateScreenBuffer(&_visualizationInfos, &_screenBuffer);
        if (vgaResult != VgaErrorNone) {
            Error_Handler();
        }

        VgaDumpTimersFrequencies();
        // We are connected. We resume the low priority check connection task and we suspend ourself
        CHECK_OS_STATUS(osThreadResume(_mainTaskHandle));

        // Before suspending, we start the drawing and we start reading user commands
        DrawMainScreen();
        vgaResult = VgaStartOutput();
        if (vgaResult != VgaErrorNone) {
            Error_Handler();
        }

        IssueUserInputReadWithIT();

        // The osThreadSuspend will put the thread in blocked mode and yield the execution to another one
        // After resuming, we should have no error on return of this function
        CHECK_OS_STATUS(osThreadSuspend(vgaConnectionTaHandle));

    }
    /* USER CODE END 5 */
}

void MainTask(void* argument)
{
    /* USER CODE BEGIN MainTask */

        // Main loop description
        // Once the VGA screen is attached, our main application logic can kick-in
        // First we need to recall that interrupts (both from peripherals or software) and device interactions
        // lock the BusMatrix, introducing latencies (and consequently, artifacts) on the displayed image; so
        // we need to pay attention to minimize the interactions with the peripherals
    while (1) {

        // 1) Step: handle user input if available
        HandleUserInput();

        if (!IsVGAStillConnected()) {
            printf("\033[1;91mVGA Disconnected!\033[0m\r\n");
            // We start the disconnection procedure
            // We abort the uart command reception (we are not interested in the outcome of this operation)
            HAL_UART_AbortReceive_IT(&huart4);
            // We completly stop the VGA output
            VgaStopOutput();
            VgaReleaseScreenBuffer(_screenBuffer);

            // Eventually we resume the connection task and suspend ourself
            CHECK_OS_STATUS(osThreadResume(vgaConnectionTaHandle));
            CHECK_OS_STATUS(osThreadSuspend(_mainTaskHandle));
        }
    }
    /* USER CODE END MainTask */
}

void HAL_TIM_PeriodElapsedCallback(TIM_HandleTypeDef* htim)
{
    if (htim->Instance == TIM7) {
        HAL_IncTick();
    }
}

void Error_Handler(void)
{
    /* USER CODE BEGIN Error_Handler_Debug */
        /* User can add his own implementation to report the HAL error return state */
    __disable_irq();

    CLEAR_BIT(GPIOD->ODR, (GPIO_PIN_12 | GPIO_PIN_13 | GPIO_PIN_15));
    GPIOD->ODR |= GPIO_PIN_14;
    while (1) {
    }
    /* USER CODE END Error_Handler_Debug */
}

/************************ (C) COPYRIGHT STMicroelectronics *****END OF FILE****/

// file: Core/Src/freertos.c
/* USER CODE BEGIN Header */
/**
  ******************************************************************************
  * File Name          : freertos.c
  * Description        : Code for freertos applications
  ******************************************************************************
  * @attention
  *
  * <h2><center>&copy; Copyright (c) 2021 STMicroelectronics.
  * All rights reserved.</center></h2>
  *
  * This software component is licensed by ST under Ultimate Liberty license
  * SLA0044, the "License"; You may not use this file except in compliance with
  * the License. You may obtain a copy of the License at:
  *                             www.st.com/SLA0044
  *
  ******************************************************************************
  */
/* USER CODE END Header */

#include "FreeRTOS.h"
#include "task.h"
#include "main.h"

/* USER CODE BEGIN FunctionPrototypes */
extern void Error_Handler();
/* USER CODE END FunctionPrototypes */

/* Hook prototypes */
void vApplicationStackOverflowHook(xTaskHandle xTask, signed char *pcTaskName);

/* USER CODE BEGIN 4 */
void vApplicationStackOverflowHook(xTaskHandle xTask, signed char *pcTaskName)
{
   /* Run time stack overflow checking is performed if
   configCHECK_FOR_STACK_OVERFLOW is defined to 1 or 2. This hook function is
   called if a stack overflow is detected. */

   // Better to nothing if the stack is corrupted
    Error_Handler();

}
/* USER CODE END 4 */

/************************ (C) COPYRIGHT STMicroelectronics *****END OF FILE****/
